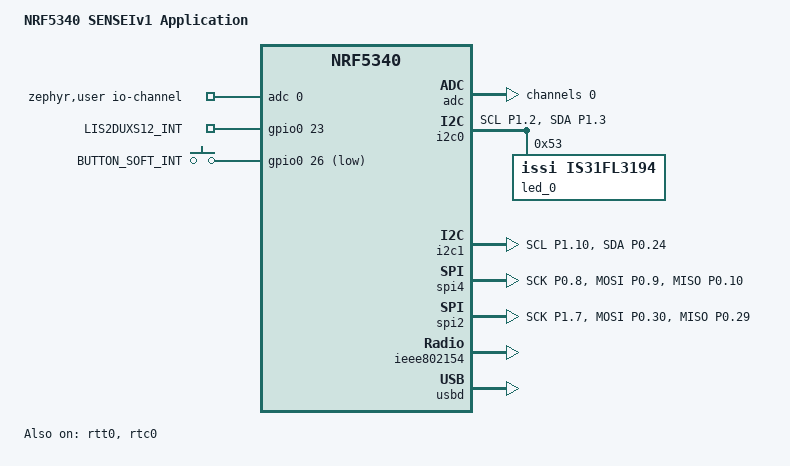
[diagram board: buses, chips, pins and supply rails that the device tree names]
// Copyright (c) 2025 ETH Zurich and University of Bologna
// SPDX-License-Identifier: Apache-2.0

/dts-v1/;
#include <nordic/nrf5340_cpuapp_qkaa.dtsi>
#include <zephyr/dt-bindings/input/input-event-codes.h>

#include <zephyr/dt-bindings/led/led.h>

/ {
	model = "NRF5340 SENSEIv1 Application";
	compatible = "eth-zurich,nrf5340-senseiv1-cpuapp";

	chosen {
		zephyr,console = &cdc_acm_uart0;
		zephyr,shell-uart = &cdc_acm_uart0;
		zephyr,uart-mcumgr = &cdc_acm_uart0;
		zephyr,bt-mon-uart = &cdc_acm_uart0;
		zephyr,bt-c2h-uart = &cdc_acm_uart0;
		zephyr,bt-uart = &cdc_acm_uart0;
		zephyr,bt-hci-ipc = &ipc0;
		nordic,802154-spinel-ipc = &ipc0;
		zephyr,ieee802154 = &ieee802154;
		zephyr,sram = &sram0;
		zephyr,flash = &flash0;
		zephyr,code-partition = &slot0_partition;
	};


	zephyr,user {
		/* adjust channel number according to pinmux in board.dts */
		io-channels = <&adc 0>;
	};

	aliases {
		i2ca = &i2c0;
		i2cb = &i2c1;
		spia = &spi4;
		spib = &spi2;
		//uartgap = &uart_gap;
	};
	buttons{
		gpio_lis2duxs12_int1: gpio_lis2duxs12_int1 {
			gpios = <&gpio0 23 GPIO_ACTIVE_HIGH>;
			label = "LIS2DUXS12_INT";
		};
		/* Active low: reset is requested when the line is pulled to GND.
		 * Internal pull-up keeps the line high while idle. */
		gpio_soft_rst: gpio_soft_rst {
			gpios = <&gpio0 26 (GPIO_ACTIVE_LOW | GPIO_PULL_UP)>;
			label = "BUTTON_SOFT_INT";
		};
	};
};

#include "nrf5340_senseiv1_shared.dtsi"

&pinctrl {
	i2c0_default: i2c0_default {
		group1 {
			psels = <NRF_PSEL(TWIM_SCL, 1, 2)>,
				<NRF_PSEL(TWIM_SDA, 1, 3)>;
		};
	};

	i2c0_sleep: i2c0_sleep {
		group1 {
			psels = <NRF_PSEL(TWIM_SCL, 1, 2)>,
				<NRF_PSEL(TWIM_SDA, 1, 3)>;
			low-power-enable;
		};
	};

	i2c1_default: i2c1_default {
		group1 {
			psels = <NRF_PSEL(TWIM_SCL, 1, 10)>,
				<NRF_PSEL(TWIM_SDA, 0, 24)>;
		};
	};

	i2c1_sleep: i2c1_sleep {
		group1 {
			psels = <NRF_PSEL(TWIM_SCL, 1, 10)>,
				<NRF_PSEL(TWIM_SDA, 0, 24)>;
			low-power-enable;
		};
	};

	/* SPI_A (board-to-board J2 pins 29/31/34, CS on P0.11 as GPIO).
	 * P0.08-P0.11 are the nRF5340 dedicated high-speed pins: on SPIM4
	 * this bus supports up to 32 MHz ("SPI A is the high-speed SPI"). */
	spi_a_default: spi_a_default {
		group1 {
			psels = <NRF_PSEL(SPIM_SCK, 0, 8)>,
				<NRF_PSEL(SPIM_MOSI, 0, 9)>,
				<NRF_PSEL(SPIM_MISO, 0, 10)>;
		};
	};

	spi_a_sleep: spi_a_sleep {
		group1 {
			psels = <NRF_PSEL(SPIM_SCK, 0, 8)>,
				<NRF_PSEL(SPIM_MOSI, 0, 9)>,
				<NRF_PSEL(SPIM_MISO, 0, 10)>;
			low-power-enable;
		};
	};

	/* SPI_B (board-to-board J2 pins 24-27, CS on P1.08), max 8 MHz. */
	spi_b_default: spi_b_default {
		group1 {
			psels = <NRF_PSEL(SPIM_SCK, 1, 7)>,
				<NRF_PSEL(SPIM_MOSI, 0, 30)>,
				<NRF_PSEL(SPIM_MISO, 0, 29)>;
		};
	};

	spi_b_sleep: spi_b_sleep {
		group1 {
			psels = <NRF_PSEL(SPIM_SCK, 1, 7)>,
				<NRF_PSEL(SPIM_MOSI, 0, 30)>,
				<NRF_PSEL(SPIM_MISO, 0, 29)>;
			low-power-enable;
		};
	};

	//uart_gap_default: uart0_default {
	//group1 {
	//		psels = <NRF_PSEL(UART_TX, 1, 0)>,
	//			<NRF_PSEL(UART_RX, 1, 1)>;
	//	};
	//};

	//uart_gap_sleep: uart0_sleep {
	//	group1 {
	//		psels = <NRF_PSEL(UART_TX, 1, 0)>,
	//			<NRF_PSEL(UART_RX, 1, 1)>;
	//		low-power-enable;
	//	};
	//};
};

&gpio0 {
	status = "okay";
};

&gpio1 {
	status = "okay";
};

&gpiote {
	status = "okay";
};

&adc {
	status = "okay";
};

&adc {
	#address-cells = <1>;
	#size-cells = <0>;
	channel@0 {
		reg = <0>;
		zephyr,gain = "ADC_GAIN_1_6";
		zephyr,reference = "ADC_REF_INTERNAL";
		zephyr,vref-mv = <3600>;
		zephyr,acquisition-time = <ADC_ACQ_TIME_DEFAULT>;
		zephyr,input-positive = <NRF_SAADC_AIN3>; /* P0.07 for nRF5340 */
		zephyr,resolution = <12>;
	};
};


&i2c0 {
	compatible = "nordic,nrf-twim";
	pinctrl-0 = <&i2c0_default>;
	pinctrl-1 = <&i2c0_sleep>;
	pinctrl-names = "default", "sleep";
	status = "okay";
};

&i2c1 {
	compatible = "nordic,nrf-twim";
	pinctrl-0 = <&i2c1_default>;
	pinctrl-1 = <&i2c1_sleep>;
	pinctrl-names = "default", "sleep";
	status = "okay";
};

/* SPI_A: always-available shield bus on SPIM4, the only 32 MHz-capable
 * SPI instance of the nRF5340. Used by the ExG/EMG shields (ADS1298,
 * CS via GPIO P0.11/P1.09) and foreseen for WiFi/mmWave shields.
 * Chip selects are per-device GPIOs, not cs-gpios here, because several
 * shields share the bus and the application arbitrates access. */
spi_a: &spi4 {
	compatible = "nordic,nrf-spim";
	pinctrl-0 = <&spi_a_default>;
	pinctrl-1 = <&spi_a_sleep>;
	pinctrl-names = "default", "sleep";
	status = "okay";
};

/* SPI_B: always-available shield bus on SPIM2 (max 8 MHz). Used by the
 * US/WULPUS shield (MSP430, CS P1.08). Occupies serial-box 2, so i2c2
 * and uart2 must stay disabled; serial-box 3 (uart3) is kept free for
 * the GAP9 UART. */
spi_b: &spi2 {
	compatible = "nordic,nrf-spim";
	pinctrl-0 = <&spi_b_default>;
	pinctrl-1 = <&spi_b_sleep>;
	pinctrl-names = "default", "sleep";
	status = "okay";
};

&i2c2 {
	status = "disabled";	/* serial-box 2 is used by SPI_B */
};

&uart2 {
	status = "disabled";	/* serial-box 2 is used by SPI_B */
};

&i2c0 {
	led_0: is31fl3194@53 {
		compatible = "issi,is31fl3194";
		reg = <0x53>;

		leds {
			label = "RGB LED";
			color-mapping =
				<LED_COLOR_ID_RED>,
				<LED_COLOR_ID_GREEN>,
				<LED_COLOR_ID_BLUE>;
			current-limit = <10>;
		};
	  };
};

//uart_gap: &uart3{
//	status = "okay";
//	current-speed = <115200>;

//	pinctrl-0 = <&uart_gap_default>;
//	pinctrl-1 = <&uart_gap_sleep>;
//	pinctrl-names = "default", "sleep";
//};

&ieee802154 {
	status = "okay";
};

zephyr_udc0: &usbd {
	compatible = "nordic,nrf-usbd";
	status = "okay";
	cdc_acm_uart0: cdc_acm_uart0 {
		compatible = "zephyr,cdc-acm-uart";
	};
};


&rtt0 {
    status = "okay";
};

&rtc0 {
	status = "okay";
};

&flash0 {
	partitions {
		compatible = "fixed-partitions";
		#address-cells = <1>;
		#size-cells = <1>;

		boot_partition: partition@0 {
			label = "mcuboot";
			reg = <0x0 0x10000>;
		};
		slot0_partition: partition@10000 {
			label = "image-0";
			reg = <0x10000 0x70000>;
		};
		slot1_partition: partition@80000 {
			label = "image-1";
			reg = <0x80000 0x70000>;
		};
		scratch_partition: partition@f0000 {
			label = "image-scratch";
			reg = <0xf0000 0xa000>;
		};
		storage_partition: partition@fa000 {
			label = "storage";
			reg = <0xfa000 0x6000>;
		};
	};
};


